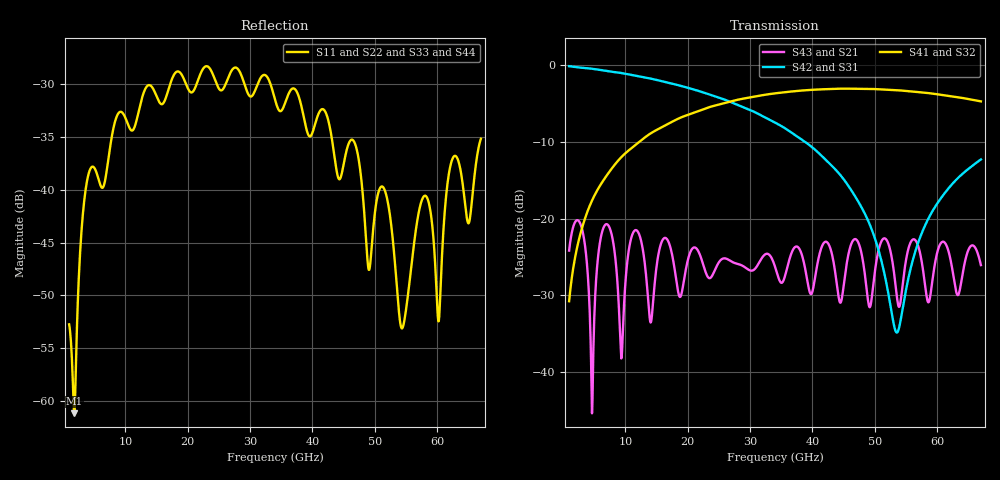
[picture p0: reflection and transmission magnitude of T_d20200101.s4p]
! www.PolarInstruments.com
! File Export V10.11 [9.03]
! For hxji@mail.xidian.edu.cn;QQ=47399897
! File : D:\SJTU\Bachelor\thesis\ncmmw2020\Code\data\SI\T_d20200101.s4p
! Polar  PCB Transmission Line Field Solver  v11.04.00
# MHz S RI R 50.00
! Line Length = 0.018m ( 0.71 inch )
!  PORT NUMBERING (Classic style)
!  PORT#  PORT#
!  Z1 = Z2 = 50.00  Z3 = Z4 = 50.00
!  1 --|  |-- 3
!  2 --|  |-- 4
! FREQ MHz  S11  S12  S13  S14
!  S21  S22  S23  S24
!  S31  S32  S33  S34
!  S41  S42  S43  S44
!  REAL  IMAG  REAL  IMAG  REAL  IMAG  REAL  IMAG
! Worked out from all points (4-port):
!   901 points, 1 GHz to 67 GHz, reference 50 ohm
!   strongest paths, dB at 1 GHz, 17.5 GHz, 34 GHz, 50.5 GHz, 67 GHz:
!     S41: -30.8, -7.4, -3.7, -3.1, -4.7
!     S32: -30.8, -7.4, -3.7, -3.1, -4.7
!     S42: -0.1, -2.4, -7.5, -23.8, -12.3
!     S31: -0.1, -2.4, -7.5, -23.8, -12.3
!     S43: -24.2, -24.7, -26.2, -24.5, -26.0
!     S21: -24.2, -24.7, -26.2, -24.5, -26.0
!   lowest |S11| = -61.2 dB at 1.807 GHz (marker M1), VSWR 1.00, Z = 50.1 - j0.0568 ohm
!   |S11| at or under -10 dB: start of sweep to end of sweep
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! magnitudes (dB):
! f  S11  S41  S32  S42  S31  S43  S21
! 1 GHz  -52.7  -30.8  -30.8  -0.1  -0.1  -24.2  -24.2
! 1.807 GHz  -61.2  -25.7  -25.7  -0.2  -0.2  -20.7  -20.7
! 4.667 GHz  -37.8  -17.6  -17.6  -0.5  -0.5  -45.4  -45.4
! 6.793 GHz  -39.0  -14.7  -14.7  -0.7  -0.7  -20.8  -20.8
! 18.31 GHz  -28.8  -7.0  -7.0  -2.6  -2.6  -28.7  -28.7
! 53.51 GHz  -49.0  -3.3  -3.3  -34.8  -34.8  -30.0  -30.0
! 67 GHz  -35.2  -4.7  -4.7  -12.3  -12.3  -26.0  -26.0
